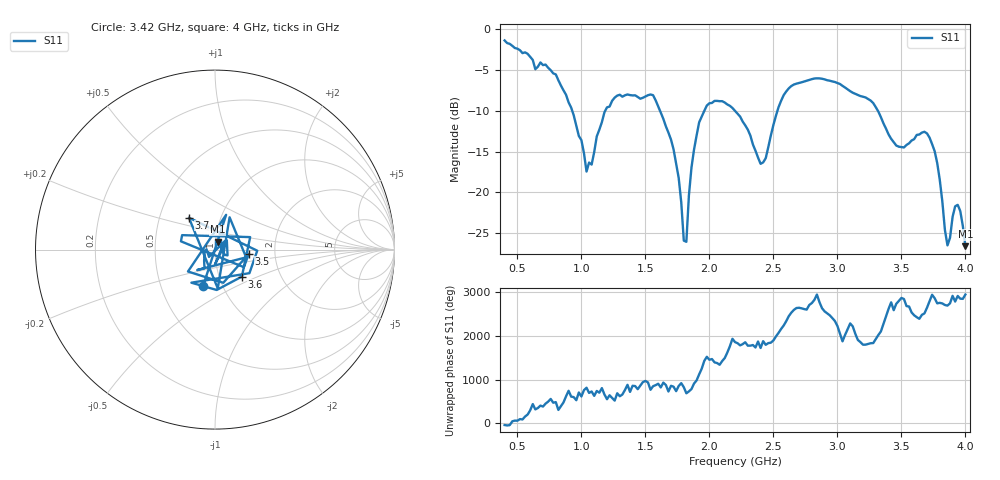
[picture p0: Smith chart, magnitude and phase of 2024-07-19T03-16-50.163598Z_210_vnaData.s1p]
!Created with skrf (http://scikit-rf.org).
# Hz S RI R 50.0
!freq ReS11 ImS11
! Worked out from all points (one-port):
!   181 points, 400 MHz to 4 GHz, reference 50 ohm
!   lowest |S11| = -26.6 dB at 4 GHz (marker M1), VSWR 1.10, Z = 51.4 + j4.53 ohm
!   |S11| at or under -10 dB: 1.615 GHz to 1.96 GHz (345.7 MHz wide, 19.3 % of centre); 2.2 GHz to 2.531 GHz (330.9 MHz wide, 14 % of centre); 3.317 GHz to end of sweep (the widest 3 of 4)
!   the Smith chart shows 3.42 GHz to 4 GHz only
!   S11 on the Smith chart (normalised r, x): 3.42 GHz: 0.81, -0.34; 3.5 GHz: 1.46, -0.07; 3.6 GHz: 1.28, -0.40; 3.7 GHz: 0.70, +0.26; 4 GHz: 1.03, +0.09
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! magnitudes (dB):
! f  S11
! 400 MHz  -1.4
! 860 MHz  -7.5
! 1.04 GHz  -17.4
! 1.18 GHz  -10.2
! 1.3 GHz  -8.0
! 1.56 GHz  -8.1
! 1.7 GHz  -13.5
! 1.76 GHz  -18.2
! 1.8 GHz  -25.9
! 1.82 GHz  -26.1
! 1.86 GHz  -17.0
! 1.92 GHz  -11.4
! 2.04 GHz  -8.8
! 2.2 GHz  -10.0
! 2.4 GHz  -16.5
! 2.56 GHz  -8.8
! 2.66 GHz  -6.8
! 3.1 GHz  -7.6
! 3.28 GHz  -9.0
! 3.42 GHz  -13.4
! 3.5 GHz  -14.4
! 3.56 GHz  -14.0
! 3.6 GHz  -13.5
! 3.7 GHz  -12.8
! 3.78 GHz  -16.4
! 3.86 GHz  -26.5
! 3.94 GHz  -21.5
! 4 GHz  -26.6
